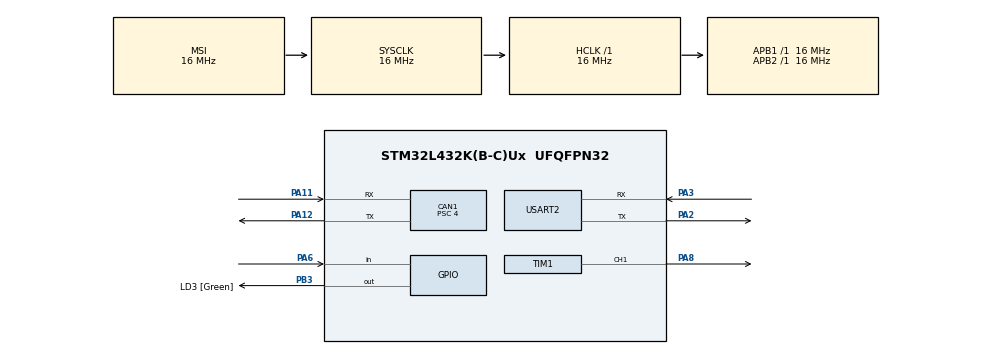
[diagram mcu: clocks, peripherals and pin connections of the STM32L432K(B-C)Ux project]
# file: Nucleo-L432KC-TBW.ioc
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CAN1.ABOM=ENABLE
CAN1.BS1=CAN_BS1_13TQ
CAN1.BS2=CAN_BS2_2TQ
CAN1.CalculateBaudRate=250000
CAN1.CalculateTimeBit=4000
CAN1.CalculateTimeQuantum=250.0
CAN1.Prescaler=4
Mcu.Family=STM32L4
Mcu.Name=STM32L432K(B-C)Ux
Mcu.Package=UFQFPN32
NVIC.CAN1_RX0_IRQn=true\:0\:0\:false\:false\:true\:true\:true\:true
NVIC.CAN1_RX1_IRQn=true\:0\:0\:false\:false\:true\:true\:true\:true
NVIC.PriorityGroup=NVIC_PRIORITYGROUP_4
NVIC.TIM1_UP_TIM16_IRQn=true\:0\:0\:false\:false\:true\:true\:true\:true
NVIC.TIM6_DAC_IRQn=true\:0\:0\:false\:false\:true\:true\:true\:true
NVIC.TIM7_IRQn=true\:0\:0\:false\:false\:true\:true\:true\:true
PA0.GPIO_Label=MCO [High speed clock in]
PA0.Mode=HSE-External-Clock-Source-for-LittleOrca
PA0.Signal=RCC_CK_IN
PA11.Mode=CAN_Activate
PA11.Signal=CAN1_RX
PA12.Mode=CAN_Activate
PA12.Signal=CAN1_TX
PA13\ (JTMS-SWDIO).GPIO_Label=SWDIO
PA13\ (JTMS-SWDIO).Mode=Serial_Wire
PA13\ (JTMS-SWDIO).Signal=SYS_JTMS-SWDIO
PA14\ (JTCK-SWCLK).GPIO_Label=SWCLK
PA14\ (JTCK-SWCLK).Mode=Serial_Wire
PA14\ (JTCK-SWCLK).Signal=SYS_JTCK-SWCLK
PA2.Mode=Asynchronous
PA2.Signal=USART2_TX
PA3.Mode=Asynchronous
PA3.Signal=USART2_RX
PA6.Signal=GPIO_Input
PA8.Signal=S_TIM1_CH1
PB3\ (JTDO-TRACESWO).GPIO_Label=LD3 [Green]
PB3\ (JTDO-TRACESWO).Signal=GPIO_Output
PC14-OSC32_IN\ (PC14).Mode=LSE-External-Oscillator
PC14-OSC32_IN\ (PC14).Signal=RCC_OSC32_IN
PC15-OSC32_OUT\ (PC15).Mode=LSE-External-Oscillator
PC15-OSC32_OUT\ (PC15).Signal=RCC_OSC32_OUT
ProjectManager.HeapSize=0x200
ProjectManager.StackSize=0x400
ProjectManager.TargetToolchain=STM32CubeIDE
RCC.ADCFreq_Value=64000000
RCC.AHBFreq_Value=16000000
RCC.APB1Freq_Value=16000000
RCC.APB1TimFreq_Value=16000000
RCC.APB2Freq_Value=16000000
RCC.APB2TimFreq_Value=16000000
RCC.CortexFreq_Value=16000000
RCC.HCLKFreq_Value=16000000
RCC.HSE_VALUE=8000000
RCC.HSI16_VALUE=16000000
RCC.HSI48_VALUE=48000000
RCC.HSI_VALUE=16000000
RCC.MSIClockRange=RCC_MSIRANGE_8
RCC.MSI_VALUE=16000000
RCC.PLLMUL=RCC_PLLMUL_4
RCC.SYSCLKFreq_VALUE=16000000
RCC.USBFreq_Value=64000000
RCC.VCOOutputFreq_Value=128000000
SH.S_TIM1_CH1.0=TIM1_CH1,PWM Generation1 CH1
TIM1.Channel-PWM\ Generation1\ CH1=TIM_CHANNEL_1
TIM1.Period=2000
TIM1.Prescaler=160-1
TIM16.Period=20000
TIM16.Prescaler=160-1
TIM6.Period=10000
TIM6.Prescaler=16-1
TIM7.Period=1000
TIM7.Prescaler=16-1
USART2.VirtualMode-Asynchronous=VM_ASYNC
VP_TIM16_VS_ClockSourceINT.Mode=Enable_Timer
VP_TIM6_VS_ClockSourceINT.Mode=Enable_Timer
VP_TIM7_VS_ClockSourceINT.Mode=Enable_Timer
board=NUCLEO-L432KC

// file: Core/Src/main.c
/* USER CODE BEGIN Header */
/**
  ******************************************************************************
  * @file           : main.c
  * @brief          : Main program body
  ******************************************************************************
  * @attention
  *
  * Copyright (c) 2022 STMicroelectronics.
  * All rights reserved.
  *
  * This software is licensed under terms that can be found in the LICENSE file
  * in the root directory of this software component.
  * If no LICENSE file comes with this software, it is provided AS-IS.
  *
  ******************************************************************************
  */
/* USER CODE END Header */
#include "main.h"

/* USER CODE BEGIN Includes */

#include "stdio.h"

/* USER CODE END Includes */

CAN_HandleTypeDef hcan1;

TIM_HandleTypeDef htim1;
TIM_HandleTypeDef htim6;
TIM_HandleTypeDef htim7;
TIM_HandleTypeDef htim16;

UART_HandleTypeDef huart2;

void SystemClock_Config(void);
static void MX_GPIO_Init(void);
static void MX_USART2_UART_Init(void);
static void MX_CAN1_Init(void);
static void MX_TIM6_Init(void);
static void MX_TIM1_Init(void);
static void MX_TIM7_Init(void);
static void MX_TIM16_Init(void);

/* USER CODE BEGIN 0 */

CAN_TxHeaderTypeDef TxHeader;
CAN_RxHeaderTypeDef RxHeader;

uint32_t TxMailbox;

uint8_t CAN_TxData[4];
uint8_t CAN_RxData[4];

// important: don't convert to int or it will get reset to 0 for unknown reason
int motor_direction = 1;
int throttle_desired = 0;

int speed_sensor_val = 0;
int speed_sensor_pre = 0;

float speed_window1 = 0.0;
float speed_window2 = 0.0;
float speed_window3 = 0.0;
float speed_window4 = 0.0;
float speed_window5 = 0.0;

float speed_measured = 0.0;
float speed_measured_rps = 0.0;
float speed_measured_motor_rps = 0.0;
float motor_ratio = 2.71;

float speed_desired = 0.0;
float speed_max = 6.0;
float speed_accumu = 0.0;

float wheel_diameter = 0.27;

// uart print to serial terminal for debugging purpose
int _write(int file, char *ptr, int len){
	HAL_UART_Transmit(&huart2, (uint8_t*)ptr, len, HAL_MAX_DELAY);
	return len;
}

void HAL_CAN_RxFifo0MsgPendingCallback(CAN_HandleTypeDef *hcan1)
{
  if (HAL_CAN_GetRxMessage(hcan1, CAN_RX_FIFO0, &RxHeader, CAN_RxData) != HAL_OK)
  {
    Error_Handler();
  }

  // 0x100 is the can device id of the main controller
  if ((RxHeader.StdId == 0x100))
  {
    // for CAN communication debugging
    printf("Receive from MAIN CONTROLLER\r\n");

	  // first compute the brake percentage then the pressure needed
	  throttle_desired = CAN_RxData[2];
	  motor_direction = CAN_RxData[3];
  }
}

void HAL_TIM_PeriodElapsedCallback(TIM_HandleTypeDef *htim) {
	// 100Hz = 10ms send out speed control ppm to vesc
	if (htim == &htim6){
	  if (motor_direction == 1){
		  TIM1->CCR1 = throttle_desired/2 + 150;
	  } else{
		  TIM1->CCR1 = -throttle_desired/2 + 150;
	  }

	  // send out speed control ppm
	  HAL_TIM_PWM_Start(&htim1, TIM_CHANNEL_1);
  }

  // 1000Hz = 1ms read speed sensor for speed measurement
  if (htim == &htim7){
	  speed_sensor_val = HAL_GPIO_ReadPin(GPIOA, GPIO_PIN_6);

	  // we have a new magnet passing through
	  if(speed_sensor_val != speed_sensor_pre){
		  speed_accumu += 30.0; // 10 magnets (360/10/2 = 18 degrees per switch)
		  speed_sensor_pre = speed_sensor_val;
	  }
  }

  // 5Hz = 200ms compute speed using sliding window and send out info
  if (htim == &htim16){
	  speed_window5 = speed_window4;
	  speed_window4 = speed_window3;
	  speed_window3 = speed_window2;
	  speed_window2 = speed_window1;
	  speed_window1 = speed_accumu / 360.0 * 5; //need to be multiplied with frequency

	  speed_accumu = 0.0;
	  // here the 5 is avg window size
	  speed_measured_rps = (speed_window1 + speed_window2 + speed_window3 + speed_window4 + speed_window5) / 5.0;
	  speed_measured = speed_measured_rps * wheel_diameter * 3.14;
	  speed_measured_motor_rps = speed_measured_rps * motor_ratio;

	  // send out measured speed to can bus
	  CAN_TxData[0] = (int)(speed_measured);
	  CAN_TxData[1] = (int)(speed_measured_rps);
	  CAN_TxData[2] = (int)(speed_measured_motor_rps);

	  HAL_CAN_AddTxMessage(&hcan1, &TxHeader, CAN_TxData, &TxMailbox);

/*	  printf("throttle desired: %d \r\n", throttle_desired);
	  printf("motor direction: %d \r\n", motor_direction);
	  printf("speed measured %.2f m/s \r\n", speed_measured);*/
  }
}

/* USER CODE END 0 */

int main(void)
{

  /* MCU Configuration--------------------------------------------------------*/

  /* Reset of all peripherals, Initializes the Flash interface and the Systick. */
  HAL_Init();

  /* Configure the system clock */
  SystemClock_Config();

  /* Initialize all configured peripherals */
  MX_GPIO_Init();
  MX_USART2_UART_Init();
  MX_CAN1_Init();
  MX_TIM6_Init();
  MX_TIM1_Init();
  MX_TIM7_Init();
  MX_TIM16_Init();

  /* Infinite loop */
  while (1)
  {
  }

}

void SystemClock_Config(void)
{
  RCC_OscInitTypeDef RCC_OscInitStruct = {0};
  RCC_ClkInitTypeDef RCC_ClkInitStruct = {0};

  /** Configure the main internal regulator output voltage
  */
  if (HAL_PWREx_ControlVoltageScaling(PWR_REGULATOR_VOLTAGE_SCALE1) != HAL_OK)
  {
    Error_Handler();
  }

  /** Configure LSE Drive Capability
  */
  HAL_PWR_EnableBkUpAccess();
  __HAL_RCC_LSEDRIVE_CONFIG(RCC_LSEDRIVE_LOW);

  /** Initializes the RCC Oscillators according to the specified parameters
  * in the RCC_OscInitTypeDef structure.
  */
  RCC_OscInitStruct.OscillatorType = RCC_OSCILLATORTYPE_LSE|RCC_OSCILLATORTYPE_MSI;
  RCC_OscInitStruct.LSEState = RCC_LSE_ON;
  RCC_OscInitStruct.MSIState = RCC_MSI_ON;
  RCC_OscInitStruct.MSICalibrationValue = 0;
  RCC_OscInitStruct.MSIClockRange = RCC_MSIRANGE_8;
  RCC_OscInitStruct.PLL.PLLState = RCC_PLL_NONE;
  if (HAL_RCC_OscConfig(&RCC_OscInitStruct) != HAL_OK)
  {
    Error_Handler();
  }

  /** Initializes the CPU, AHB and APB buses clocks
  */
  RCC_ClkInitStruct.ClockType = RCC_CLOCKTYPE_HCLK|RCC_CLOCKTYPE_SYSCLK
                              |RCC_CLOCKTYPE_PCLK1|RCC_CLOCKTYPE_PCLK2;
  RCC_ClkInitStruct.SYSCLKSource = RCC_SYSCLKSOURCE_MSI;
  RCC_ClkInitStruct.AHBCLKDivider = RCC_SYSCLK_DIV1;
  RCC_ClkInitStruct.APB1CLKDivider = RCC_HCLK_DIV1;
  RCC_ClkInitStruct.APB2CLKDivider = RCC_HCLK_DIV1;

  if (HAL_RCC_ClockConfig(&RCC_ClkInitStruct, FLASH_LATENCY_0) != HAL_OK)
  {
    Error_Handler();
  }

  /** Enable MSI Auto calibration
  */
  HAL_RCCEx_EnableMSIPLLMode();
}

static void MX_CAN1_Init(void)
{

  /* USER CODE BEGIN CAN1_Init 0 */
  TxHeader.DLC = 4;
  TxHeader.ExtId = 0;
  TxHeader.IDE = CAN_ID_STD;
  TxHeader.RTR = CAN_RTR_DATA;
  TxHeader.StdId = 0x101;
  TxHeader.TransmitGlobalTime = DISABLE;

  /* USER CODE END CAN1_Init 0 */

  hcan1.Instance = CAN1;
  hcan1.Init.Prescaler = 2;
  hcan1.Init.Mode = CAN_MODE_NORMAL;
  hcan1.Init.SyncJumpWidth = CAN_SJW_1TQ;
  hcan1.Init.TimeSeg1 = CAN_BS1_13TQ;
  hcan1.Init.TimeSeg2 = CAN_BS2_2TQ;
  hcan1.Init.TimeTriggeredMode = DISABLE;
  hcan1.Init.AutoBusOff = ENABLE;
  hcan1.Init.AutoWakeUp = DISABLE;
  hcan1.Init.AutoRetransmission = DISABLE;
  hcan1.Init.ReceiveFifoLocked = DISABLE;
  hcan1.Init.TransmitFifoPriority = DISABLE;
  if (HAL_CAN_Init(&hcan1) != HAL_OK)
  {
    Error_Handler();
  }
  /* USER CODE BEGIN CAN1_Init 2 */

  CAN_FilterTypeDef canfilterconfig;

  canfilterconfig.FilterActivation = CAN_FILTER_ENABLE;
  canfilterconfig.FilterBank = 10;  // which filter bank to use from the assigned ones
  canfilterconfig.FilterFIFOAssignment = CAN_FILTER_FIFO0;
  canfilterconfig.FilterIdHigh = 0x100 << 5;  // Standard 11-bit ID left-aligned in a 16-bit field
  canfilterconfig.FilterIdLow = 0x0000;
  canfilterconfig.FilterMaskIdHigh = 0xFFE0;  // Mask to match the ID exactly (11-bit ID left-aligned, 5 bits for mask)
  canfilterconfig.FilterMaskIdLow = 0x0000;
  canfilterconfig.FilterMode = CAN_FILTERMODE_IDMASK;
  canfilterconfig.FilterScale = CAN_FILTERSCALE_32BIT;
  canfilterconfig.SlaveStartFilterBank = 20;  // how many filters to assign to the CAN1 (master can)

  HAL_CAN_ConfigFilter(&hcan1, &canfilterconfig);
  HAL_CAN_Start(&hcan1);
  HAL_CAN_ActivateNotification(&hcan1, CAN_IT_RX_FIFO0_MSG_PENDING);

  /* USER CODE END CAN1_Init 2 */

}

static void MX_TIM1_Init(void)
{

  TIM_MasterConfigTypeDef sMasterConfig = {0};
  TIM_OC_InitTypeDef sConfigOC = {0};
  TIM_BreakDeadTimeConfigTypeDef sBreakDeadTimeConfig = {0};

  htim1.Instance = TIM1;
  htim1.Init.Prescaler = 160-1;
  htim1.Init.CounterMode = TIM_COUNTERMODE_UP;
  htim1.Init.Period = 2000;
  htim1.Init.ClockDivision = TIM_CLOCKDIVISION_DIV1;
  htim1.Init.RepetitionCounter = 0;
  htim1.Init.AutoReloadPreload = TIM_AUTORELOAD_PRELOAD_DISABLE;
  if (HAL_TIM_PWM_Init(&htim1) != HAL_OK)
  {
    Error_Handler();
  }
  sMasterConfig.MasterOutputTrigger = TIM_TRGO_RESET;
  sMasterConfig.MasterOutputTrigger2 = TIM_TRGO2_RESET;
  sMasterConfig.MasterSlaveMode = TIM_MASTERSLAVEMODE_DISABLE;
  if (HAL_TIMEx_MasterConfigSynchronization(&htim1, &sMasterConfig) != HAL_OK)
  {
    Error_Handler();
  }
  sConfigOC.OCMode = TIM_OCMODE_PWM1;
  sConfigOC.Pulse = 0;
  sConfigOC.OCPolarity = TIM_OCPOLARITY_HIGH;
  sConfigOC.OCNPolarity = TIM_OCNPOLARITY_HIGH;
  sConfigOC.OCFastMode = TIM_OCFAST_DISABLE;
  sConfigOC.OCIdleState = TIM_OCIDLESTATE_RESET;
  sConfigOC.OCNIdleState = TIM_OCNIDLESTATE_RESET;
  if (HAL_TIM_PWM_ConfigChannel(&htim1, &sConfigOC, TIM_CHANNEL_1) != HAL_OK)
  {
    Error_Handler();
  }
  sBreakDeadTimeConfig.OffStateRunMode = TIM_OSSR_DISABLE;
  sBreakDeadTimeConfig.OffStateIDLEMode = TIM_OSSI_DISABLE;
  sBreakDeadTimeConfig.LockLevel = TIM_LOCKLEVEL_OFF;
  sBreakDeadTimeConfig.DeadTime = 0;
  sBreakDeadTimeConfig.BreakState = TIM_BREAK_DISABLE;
  sBreakDeadTimeConfig.BreakPolarity = TIM_BREAKPOLARITY_HIGH;
  sBreakDeadTimeConfig.BreakFilter = 0;
  sBreakDeadTimeConfig.Break2State = TIM_BREAK2_DISABLE;
  sBreakDeadTimeConfig.Break2Polarity = TIM_BREAK2POLARITY_HIGH;
  sBreakDeadTimeConfig.Break2Filter = 0;
  sBreakDeadTimeConfig.AutomaticOutput = TIM_AUTOMATICOUTPUT_DISABLE;
  if (HAL_TIMEx_ConfigBreakDeadTime(&htim1, &sBreakDeadTimeConfig) != HAL_OK)
  {
    Error_Handler();
  }
  /* USER CODE BEGIN TIM1_Init 2 */
  HAL_TIM_PWM_Start(&htim1, TIM_CHANNEL_1);

  /* USER CODE END TIM1_Init 2 */
  HAL_TIM_MspPostInit(&htim1);

}

static void MX_TIM6_Init(void)
{

  TIM_MasterConfigTypeDef sMasterConfig = {0};

  htim6.Instance = TIM6;
  htim6.Init.Prescaler = 16-1;
  htim6.Init.CounterMode = TIM_COUNTERMODE_UP;
  htim6.Init.Period = 10000;
  htim6.Init.AutoReloadPreload = TIM_AUTORELOAD_PRELOAD_DISABLE;
  if (HAL_TIM_Base_Init(&htim6) != HAL_OK)
  {
    Error_Handler();
  }
  sMasterConfig.MasterOutputTrigger = TIM_TRGO_RESET;
  sMasterConfig.MasterSlaveMode = TIM_MASTERSLAVEMODE_DISABLE;
  if (HAL_TIMEx_MasterConfigSynchronization(&htim6, &sMasterConfig) != HAL_OK)
  {
    Error_Handler();
  }
  /* USER CODE BEGIN TIM6_Init 2 */
  HAL_TIM_Base_Start_IT(&htim6);
  /* USER CODE END TIM6_Init 2 */

}

static void MX_TIM7_Init(void)
{

  TIM_MasterConfigTypeDef sMasterConfig = {0};

  htim7.Instance = TIM7;
  htim7.Init.Prescaler = 16-1;
  htim7.Init.CounterMode = TIM_COUNTERMODE_UP;
  htim7.Init.Period = 1000;
  htim7.Init.AutoReloadPreload = TIM_AUTORELOAD_PRELOAD_DISABLE;
  if (HAL_TIM_Base_Init(&htim7) != HAL_OK)
  {
    Error_Handler();
  }
  sMasterConfig.MasterOutputTrigger = TIM_TRGO_RESET;
  sMasterConfig.MasterSlaveMode = TIM_MASTERSLAVEMODE_DISABLE;
  if (HAL_TIMEx_MasterConfigSynchronization(&htim7, &sMasterConfig) != HAL_OK)
  {
    Error_Handler();
  }
  /* USER CODE BEGIN TIM7_Init 2 */
  HAL_TIM_Base_Start_IT(&htim7);
  /* USER CODE END TIM7_Init 2 */

}

static void MX_TIM16_Init(void)
{

  htim16.Instance = TIM16;
  htim16.Init.Prescaler = 160-1;
  htim16.Init.CounterMode = TIM_COUNTERMODE_UP;
  htim16.Init.Period = 20000;
  htim16.Init.ClockDivision = TIM_CLOCKDIVISION_DIV1;
  htim16.Init.RepetitionCounter = 0;
  htim16.Init.AutoReloadPreload = TIM_AUTORELOAD_PRELOAD_DISABLE;
  if (HAL_TIM_Base_Init(&htim16) != HAL_OK)
  {
    Error_Handler();
  }
  /* USER CODE BEGIN TIM16_Init 2 */
  HAL_TIM_Base_Start_IT(&htim16);
  /* USER CODE END TIM16_Init 2 */

}

static void MX_USART2_UART_Init(void)
{

  huart2.Instance = USART2;
  huart2.Init.BaudRate = 115200;
  huart2.Init.WordLength = UART_WORDLENGTH_8B;
  huart2.Init.StopBits = UART_STOPBITS_1;
  huart2.Init.Parity = UART_PARITY_NONE;
  huart2.Init.Mode = UART_MODE_TX_RX;
  huart2.Init.HwFlowCtl = UART_HWCONTROL_NONE;
  huart2.Init.OverSampling = UART_OVERSAMPLING_16;
  huart2.Init.OneBitSampling = UART_ONE_BIT_SAMPLE_DISABLE;
  huart2.AdvancedInit.AdvFeatureInit = UART_ADVFEATURE_NO_INIT;
  if (HAL_UART_Init(&huart2) != HAL_OK)
  {
    Error_Handler();
  }

}

static void MX_GPIO_Init(void)
{
  GPIO_InitTypeDef GPIO_InitStruct = {0};

  /* GPIO Ports Clock Enable */
  __HAL_RCC_GPIOC_CLK_ENABLE();
  __HAL_RCC_GPIOA_CLK_ENABLE();
  __HAL_RCC_GPIOB_CLK_ENABLE();

  /*Configure GPIO pin Output Level */
  HAL_GPIO_WritePin(LD3_GPIO_Port, LD3_Pin, GPIO_PIN_RESET);

  /*Configure GPIO pin : PA6 */
  GPIO_InitStruct.Pin = GPIO_PIN_6;
  GPIO_InitStruct.Mode = GPIO_MODE_INPUT;
  GPIO_InitStruct.Pull = GPIO_NOPULL;
  HAL_GPIO_Init(GPIOA, &GPIO_InitStruct);

  /*Configure GPIO pin : LD3_Pin */
  GPIO_InitStruct.Pin = LD3_Pin;
  GPIO_InitStruct.Mode = GPIO_MODE_OUTPUT_PP;
  GPIO_InitStruct.Pull = GPIO_NOPULL;
  GPIO_InitStruct.Speed = GPIO_SPEED_FREQ_LOW;
  HAL_GPIO_Init(LD3_GPIO_Port, &GPIO_InitStruct);

}

void Error_Handler(void)
{
  __disable_irq();
  while (1)
  {
  }
}
